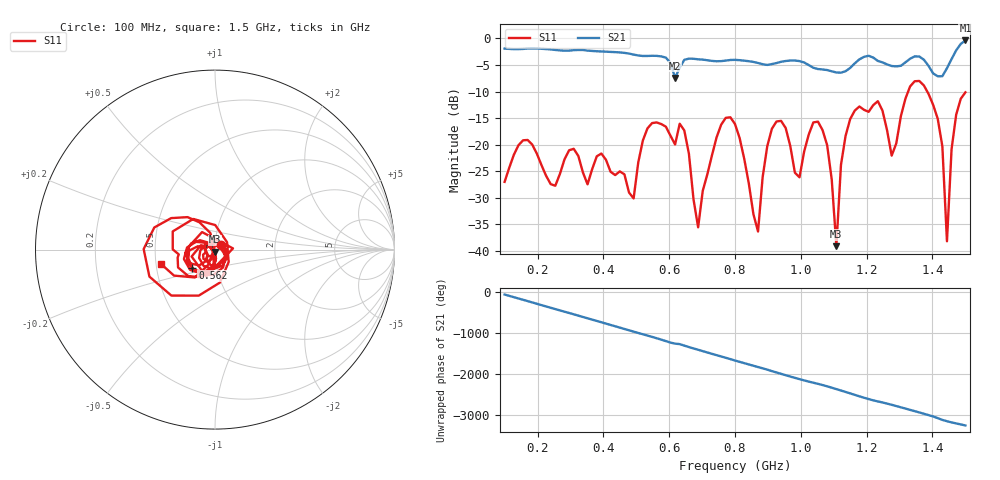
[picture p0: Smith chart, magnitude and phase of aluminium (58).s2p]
! NanoVNA-App
! Date: 2025-09-25 14:55:43
! Start: 100MHz Stop: 1,5GHz Points: 101
! S-Parameter data: F S11 S21 S12 S22
# Hz S RI R 50
!  Frequency  S11_Real  S11_Imag  S21_Real  S21_Imag  S12_Real  S12_Imag  S22_Real  S22_Imag
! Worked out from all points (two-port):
!   101 points, 100 MHz to 1.5 GHz, reference 50 ohm
!   highest |S21| = -0.39 dB at 1.5 GHz (marker M1); lowest = -7.4 dB at 618 MHz (marker M2)
!   |S21| within 3 dB of the highest: start of sweep to 575.9 MHz; 1.462 GHz to end of sweep (the widest 2 of 4)
!   lowest |S11| = -39.1 dB at 1.108 GHz (marker M3), VSWR 1.02, Z = 50.2 - j1.1 ohm
!   |S11| at or under -10 dB: start of sweep to 1.326 GHz; 1.384 GHz to end of sweep
!   S12 and S22 are empty: the file has one direction only
!   S11 on the Smith chart (normalised r, x): 100 MHz: 1.07, +0.06; 562 MHz: 0.76, -0.16; 1.5 GHz: 0.53, -0.10
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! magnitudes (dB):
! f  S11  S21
! 100 MHz  -27.0  -1.9
! 338 MHz  -25.2  -2.2
! 492 MHz  -30.1  -3.1
! 562 MHz  -15.8  -3.3
! 576 MHz  -16.1  -3.4
! 618 MHz  -20.0  -7.4
! 688 MHz  -35.6  -3.9
! 800 MHz  -16.1  -4.0
! 870 MHz  -36.4  -4.6
! 912 MHz  -17.0  -4.8
! 996 MHz  -26.1  -4.3
! 1.038 GHz  -15.8  -5.5
! 1.08 GHz  -20.1  -6.0
! 1.108 GHz  -39.1  -6.4
! 1.122 GHz  -23.8  -6.5
! 1.164 GHz  -13.6  -4.7
! 1.276 GHz  -22.1  -5.2
! 1.374 GHz  -8.9  -4.0
! 1.43 GHz  -20.3  -7.1
! 1.444 GHz  -38.2  -5.6
! 1.458 GHz  -20.9  -3.9
! 1.5 GHz  -10.2  -0.4
